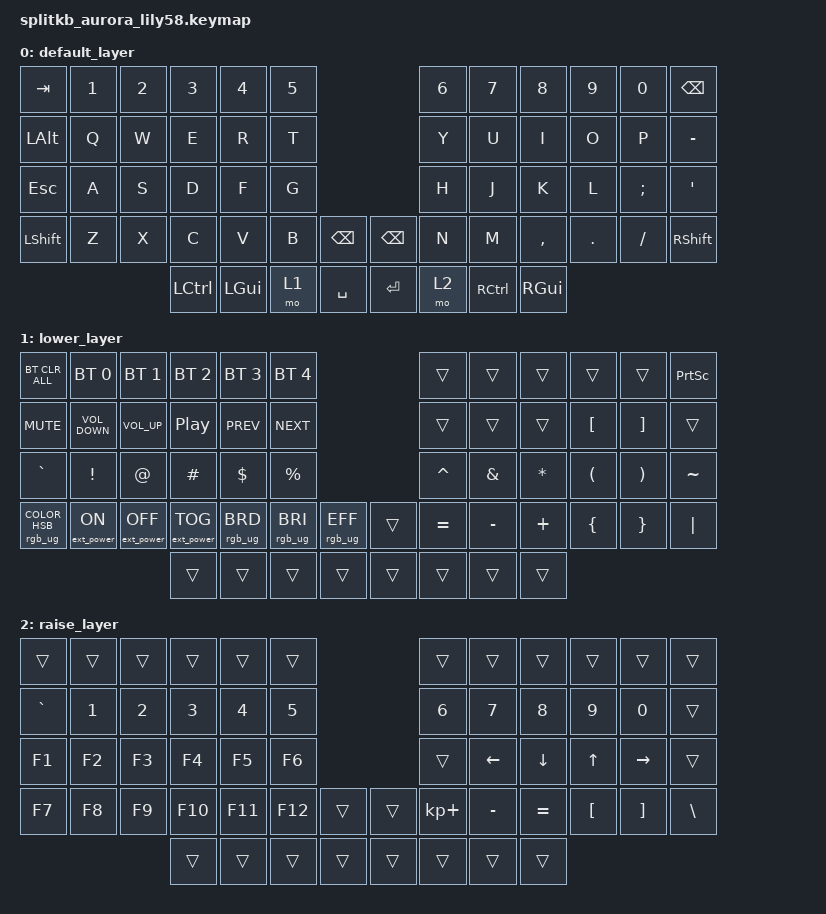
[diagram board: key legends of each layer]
/*
 * Copyright (c) 2022 The ZMK Contributors
 *
 * SPDX-License-Identifier: MIT
 */

#include <behaviors.dtsi>
#include <dt-bindings/zmk/bt.h>
#include <dt-bindings/zmk/ext_power.h>
#include <dt-bindings/zmk/keys.h>
#include <dt-bindings/zmk/rgb.h>

&led_strip { chain-length = <29>; };

/ {
    keymap {
        compatible = "zmk,keymap";

        default_layer {
            // ------------------------------------------------------------------------------------------------------------
            // |  TAB  |  1  |  2  |  3   |  4   |  5   |                   |  6   |  7    |  8    |  9   |   0   |   `   |
            // |  ESC  |  Q  |  W  |  E   |  R   |  T   |                   |  Y   |  U    |  I    |  O   |   P   |   -   |
            // |  ALT  |  A  |  S  |  D   |  F   |  G   |                   |  H   |  J    |  K    |  L   |   ;   |   '   |
            // | SHIFT |  Z  |  X  |  C   |  V   |  B   |   "["  |  |  "]"  |  N   |  M    |  ,    |  .   |   /   | SHIFT |
            //                     | CTRL | GUI  | LOWER|  SPACE |  | ENTER | RAISE| BSPC  | GUI   |

            bindings = <
&kp TAB    &kp N1  &kp N2  &kp N3     &kp N4    &kp N5                         &kp N6  &kp N7     &kp N8     &kp N9   &kp N0    &kp BACKSPACE
&kp LALT   &kp Q   &kp W   &kp E      &kp R     &kp T                          &kp Y   &kp U      &kp I      &kp O    &kp P     &kp MINUS
&kp ESC    &kp A   &kp S   &kp D      &kp F     &kp G                          &kp H   &kp J      &kp K      &kp L    &kp SEMI  &kp SQT
&kp LSHFT  &kp Z   &kp X   &kp C      &kp V     &kp B   &kp BSPC     &kp BSPC  &kp N   &kp M      &kp COMMA  &kp DOT  &kp FSLH  &kp RSHFT
                           &kp LCTRL  &kp LGUI  &mo 1   &kp SPACE    &kp RET   &mo 2   &kp RCTRL  &kp RGUI
            >;
        };

        lower_layer {
            // ------------------------------------------------------------------------------------------------------------
            // | BTCLR | BT1 | BT2 |  BT3 |  BT4 |  BT5 |                   |      |       |       |      |       |       |
            // |  F1   |  F2 |  F3 |  F4  |  F5  |  F6  |                   |  F7  |  F8   |  F9   |  F10 |  F11  |  F12  |
            // |   `   |  !  |  @  |  #   |  $   |  %   |                   |  ^   |  &    |  *    |  (   |   )   |   ~   |
            // |       |     |     |      |      |      |        |  |       |      |  _    |  +    |  {   |   }   |  "|"  |
            //                     |      |      |      |        |  |       |      |       |       |

            bindings = <
&bt BT_CLR_ALL                   &bt BT_SEL 0       &bt BT_SEL 1       &bt BT_SEL 2       &bt BT_SEL 3     &bt BT_SEL 4                                &trans     &trans     &trans    &trans            &trans             &kp PRINTSCREEN
&kp C_MUTE                       &kp C_VOLUME_DOWN  &kp C_VOLUME_UP    &kp C_PP           &kp C_PREV       &kp C_NEXT                                  &trans     &trans     &trans    &kp LEFT_BRACKET  &kp RIGHT_BRACKET  &trans
&kp GRAVE                        &kp EXCL           &kp AT             &kp HASH           &kp DOLLAR       &kp PRCNT                                   &kp CARET  &kp AMPS   &kp STAR  &kp LPAR          &kp RPAR           &kp TILDE
&rgb_ug RGB_COLOR_HSB(43,89,76)  &ext_power EP_ON   &ext_power EP_OFF  &ext_power EP_TOG  &rgb_ug RGB_BRD  &rgb_ug RGB_BRI  &rgb_ug RGB_EFF    &trans  &kp EQUAL  &kp MINUS  &kp PLUS  &kp LBRC          &kp RBRC           &kp PIPE
                                                                       &trans             &trans           &trans           &trans             &trans  &trans     &trans     &trans
            >;
        };

        raise_layer {
            // ------------------------------------------------------------------------------------------------------------
            // |       |     |     |      |      |      |                   |      |       |       |      |       |       |
            // |   `   |  1  |  2  |  3   |  4   |  5   |                   |  6   |   7   |   8   |  9   |   0   |       |
            // |   F1  |  F2 |  F3 |  F4  |  F5  |  F6  |                   |      |   <-  |   v   |  ^   |  ->   |       |
            // |   F7  |  F8 |  F9 |  F10 |  F11 |  F12 |        |  |       |  +   |   -   |   =   |  [   |   ]   |   \   |
            //                     |      |      |      |        |  |       |      |       |       |

            bindings = <
&trans     &trans  &trans  &trans   &trans   &trans                     &trans       &trans     &trans     &trans    &trans     &trans
&kp GRAVE  &kp N1  &kp N2  &kp N3   &kp N4   &kp N5                     &kp N6       &kp N7     &kp N8     &kp N9    &kp N0     &trans
&kp F1     &kp F2  &kp F3  &kp F4   &kp F5   &kp F6                     &trans       &kp LEFT   &kp DOWN   &kp UP    &kp RIGHT  &trans
&kp F7     &kp F8  &kp F9  &kp F10  &kp F11  &kp F12  &trans    &trans  &kp KP_PLUS  &kp MINUS  &kp EQUAL  &kp LBKT  &kp RBKT   &kp BSLH
                           &trans   &trans   &trans   &trans    &trans  &trans       &trans     &trans
            >;
        };
    };
};
